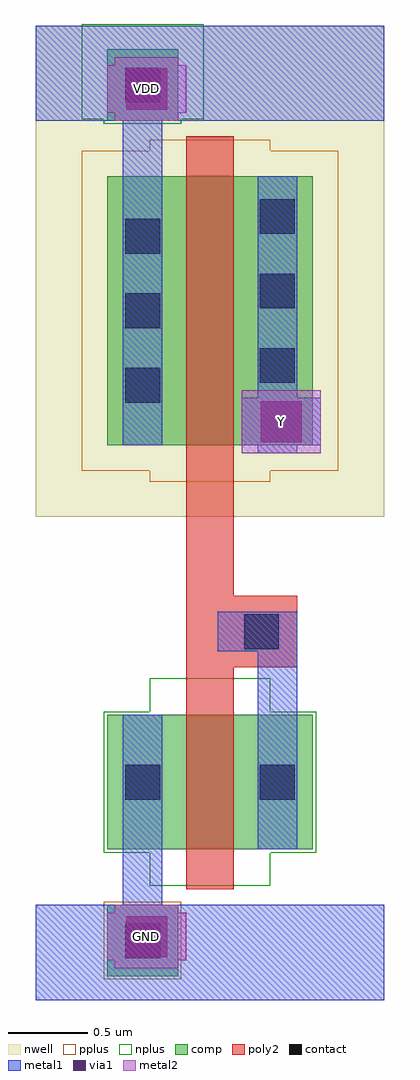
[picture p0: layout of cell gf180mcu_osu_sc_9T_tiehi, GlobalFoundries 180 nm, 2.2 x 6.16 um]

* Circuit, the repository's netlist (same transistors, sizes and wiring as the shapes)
.option scale=0.05u

.subckt gf180mcu_osu_sc_9T_tiehi Y
X0 a_19_14 a_19_14 GND GND nmos_3p3 w=17 l=6
X1 Y a_19_14 VDD VDD pmos_3p3 w=34 l=6
.ends

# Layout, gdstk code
import gdstk
lib = gdstk.Library(unit=1e-6, precision=1e-09)
def R(c, l, rs):  # rectangles x0, y0, x1, y1
    for r in rs: c.add(gdstk.rectangle(r[:2], r[2:], *l))
def A(c, l, x, y, w, h, nx, ny, dx, dy):  # array of equal rectangles
    R(c, l, [(x+i*dx, y+j*dy, x+i*dx+w, y+j*dy+h) for i in range(nx) for j in range(ny)])
nwell = (21, 0)
comp = (22, 0)
poly2 = (30, 0)
pplus = (31, 0)
nplus = (32, 0)
contact = (33, 0)
metal1 = (34, 0)
via1 = (35, 0)
metal2 = (36, 0)

gf180mcu_osu_sc_9t_tiehi = lib.new_cell('gf180mcu_osu_sc_9T_tiehi')
R(gf180mcu_osu_sc_9t_tiehi, nwell, [(0,3.05,2.2,6.15)])
R(gf180mcu_osu_sc_9t_tiehi, comp, [(0.45,0.15,0.9,0.6), (0.45,0.95,1.75,1.8), (0.45,3.5,1.75,5.2), (0.45,5.55,0.9,6)])
R(gf180mcu_osu_sc_9t_tiehi, poly2, [(0.95,0.7,1.25,2.1), (0.95,2.1,1.65,2.55), (0.95,2.55,1.25,5.45)])
R(gf180mcu_osu_sc_9t_tiehi, pplus, [(0.43,0.13,0.92,0.62), (0.72,3.27,1.48,3.34), (0.29,3.34,1.91,5.36), (0.72,5.36,1.48,5.43)])
R(gf180mcu_osu_sc_9t_tiehi, nplus, [(0.72,0.72,1.48,0.93), (0.43,0.93,1.77,1.82), (0.72,1.82,1.48,2.03), (0.43,5.53,0.92,5.56), (0.29,5.56,1.06,6.16)])
A(gf180mcu_osu_sc_9t_tiehi, contact, 0.565, 3.77, 0.22, 0.22, 1, 3, 0, 0.47)
A(gf180mcu_osu_sc_9t_tiehi, contact, 1.415, 3.895, 0.22, 0.22, 1, 3, 0, 0.47)
R(gf180mcu_osu_sc_9t_tiehi, contact, [(0.565,0.265,0.785,0.485), (0.565,1.265,0.785,1.485), (1.415,1.265,1.635,1.485), (1.315,2.215,1.535,2.435), (0.565,5.665,0.785,5.885)])
R(gf180mcu_osu_sc_9t_tiehi, metal1, [(0,0,2.2,0.6), (0.55,0.6,0.8,1.8), (1.4,0.95,1.65,2.2), (1.15,2.2,1.65,2.45), (1.4,3.45,1.65,3.5), (0.55,3.5,0.8,5.55), (1.3,3.5,1.8,3.8), (1.4,3.8,1.65,5.2), (0,5.55,2.2,6.15)])
R(gf180mcu_osu_sc_9t_tiehi, via1, [(0.57,0.27,0.83,0.53), (1.42,3.52,1.68,3.78), (0.57,5.62,0.83,5.88)])
R(gf180mcu_osu_sc_9t_tiehi, metal2, [(0.5,0.2,0.9,0.25), (0.45,0.25,0.95,0.55), (0.5,0.55,0.9,0.6), (1.3,3.45,1.8,3.85), (0.5,5.55,0.9,5.6), (0.45,5.6,0.95,5.9), (0.5,5.9,0.9,5.95)])
gf180mcu_osu_sc_9t_tiehi.add(gdstk.Label('VDD', (0.7,5.75), layer=36, texttype=0))
gf180mcu_osu_sc_9t_tiehi.add(gdstk.Label('GND', (0.7,0.4), layer=36, texttype=0))
gf180mcu_osu_sc_9t_tiehi.add(gdstk.Label('Y', (1.55,3.65), layer=36, texttype=10))

lib.write_gds('gf180mcu_osu_sc_9T_tiehi.gds')
